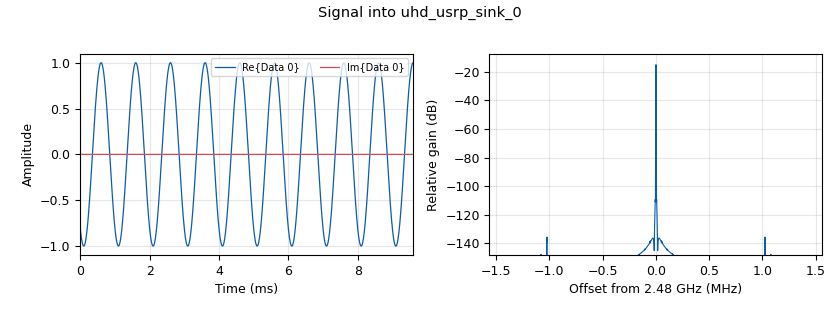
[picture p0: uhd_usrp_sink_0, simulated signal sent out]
<?xml version='1.0' encoding='utf-8'?>
<?grc format='1' created='3.7.5'?>
<flow_graph>
<block>
<key>options</key>
<param><key>id</key><value>top_block</value></param>
<param><key>generate_options</key><value>wx_gui</value></param>
<param><key>category</key><value>Custom</value></param>
</block>
<block>
<key>variable</key>
<param><key>id</key><value>samp_rate</value></param>
<param><key>value</key><value>3.125e6</value></param>
</block>
<block>
<key>variable</key>
<param><key>id</key><value>center_freq</value></param>
<param><key>value</key><value>2.48e9</value></param>
</block>
<block>
<key>import</key>
<param><key>id</key><value>import_0</value></param>
<param><key>import</key><value>import math</value></param>
</block>
<block>
<key>variable_slider</key>
<param><key>id</key><value>im</value></param>
<param><key>label</key><value></value></param>
<param><key>value</key><value>0</value></param>
<param><key>min</key><value>0</value></param>
<param><key>max</key><value>100</value></param>
<param><key>num_steps</key><value>1000</value></param>
<param><key>style</key><value>wx.SL_HORIZONTAL</value></param>
<param><key>converver</key><value>float_converter</value></param>
</block>
<block>
<key>variable_slider</key>
<param><key>id</key><value>re</value></param>
<param><key>label</key><value></value></param>
<param><key>value</key><value>0</value></param>
<param><key>min</key><value>0</value></param>
<param><key>max</key><value>1</value></param>
<param><key>num_steps</key><value>1000</value></param>
<param><key>style</key><value>wx.SL_HORIZONTAL</value></param>
<param><key>converver</key><value>float_converter</value></param>
</block>
<block>
<key>uhd_usrp_sink</key>
<param><key>id</key><value>uhd_usrp_sink_0</value></param>
<param><key>type</key><value>fc32</value></param>
<param><key>dev_args</key><value>""</value></param>
<param><key>sync</key><value>sync</value></param>
<param><key>clock_rate</key><value>0.0</value></param>
<param><key>clock_source0</key><value>external</value></param>
<param><key>time_source0</key><value>external</value></param>
<param><key>samp_rate</key><value>samp_rate</value></param>
<param><key>center_freq0</key><value>center_freq</value></param>
<param><key>gain0</key><value>0</value></param>
<param><key>ant0</key><value></value></param>
<param><key>len_tag_name</key><value></value></param>
</block>
<block>
<key>analog_sig_source_x</key>
<param><key>id</key><value>analog_sig_source_x_0</value></param>
<param><key>type</key><value>float</value></param>
<param><key>samp_rate</key><value>samp_rate</value></param>
<param><key>waveform</key><value>analog.GR_COS_WAVE</value></param>
<param><key>freq</key><value>1000</value></param>
<param><key>amp</key><value>1</value></param>
<param><key>offset</key><value>0</value></param>
</block>
<block>
<key>blocks_float_to_complex</key>
<param><key>id</key><value>blocks_float_to_complex_0</value></param>
</block>
<block>
<key>uhd_usrp_source</key>
<param><key>id</key><value>uhd_usrp_source_0</value></param>
<param><key>type</key><value>fc32</value></param>
<param><key>dev_args</key><value>""</value></param>
<param><key>sync</key><value>sync</value></param>
<param><key>clock_rate</key><value>0.0</value></param>
<param><key>clock_source0</key><value>mimo</value></param>
<param><key>time_source0</key><value>mimo</value></param>
<param><key>samp_rate</key><value>samp_rate</value></param>
<param><key>center_freq0</key><value>center_freq</value></param>
<param><key>gain0</key><value>0</value></param>
<param><key>ant0</key><value></value></param>
</block>
<block>
<key>wxgui_scopesink2</key>
<param><key>id</key><value>wxgui_scopesink2_0</value></param>
<param><key>type</key><value>float</value></param>
<param><key>title</key><value>Scope Plot</value></param>
<param><key>samp_rate</key><value>samp_rate</value></param>
<param><key>v_scale</key><value>0</value></param>
<param><key>v_offset</key><value>0</value></param>
<param><key>t_scale</key><value>0</value></param>
<param><key>ac_couple</key><value>False</value></param>
<param><key>xy_mode</key><value>False</value></param>
<param><key>num_inputs</key><value>2</value></param>
<param><key>trig_mode</key><value>wxgui.TRIG_MODE_AUTO</value></param>
<param><key>y_axis_label</key><value>Counts</value></param>
</block>
<block>
<key>blocks_complex_to_float</key>
<param><key>id</key><value>blocks_complex_to_float_0</value></param>
</block>
<connection><source_block_id>analog_sig_source_x_0</source_block_id><sink_block_id>wxgui_scopesink2_0</sink_block_id><source_key>0</source_key><sink_key>0</sink_key></connection>
<connection><source_block_id>blocks_float_to_complex_0</source_block_id><sink_block_id>uhd_usrp_sink_0</sink_block_id><source_key>0</source_key><sink_key>0</sink_key></connection>
<connection><source_block_id>analog_sig_source_x_0</source_block_id><sink_block_id>blocks_float_to_complex_0</sink_block_id><source_key>0</source_key><sink_key>0</sink_key></connection>
<connection><source_block_id>uhd_usrp_source_0</source_block_id><sink_block_id>blocks_complex_to_float_0</sink_block_id><source_key>0</source_key><sink_key>0</sink_key></connection>
<connection><source_block_id>blocks_complex_to_float_0</source_block_id><sink_block_id>wxgui_scopesink2_0</sink_block_id><source_key>0</source_key><sink_key>1</sink_key></connection>
</flow_graph>
